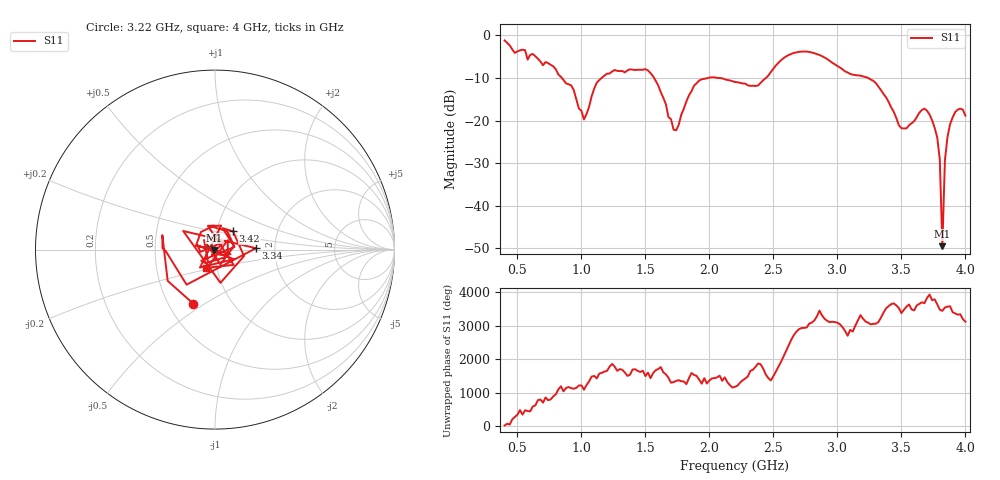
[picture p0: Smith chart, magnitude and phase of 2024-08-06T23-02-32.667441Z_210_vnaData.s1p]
!Created with skrf (http://scikit-rf.org).
# Hz S RI R 50.0
!freq ReS11 ImS11
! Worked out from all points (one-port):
!   181 points, 400 MHz to 4 GHz, reference 50 ohm
!   lowest |S11| = -49.5 dB at 3.82 GHz (marker M1), VSWR 1.01, Z = 49.7 - j0.144 ohm
!   |S11| at or under -10 dB: 1.568 GHz to 1.989 GHz (421.7 MHz wide, 23.7 % of centre); 2.062 GHz to 2.441 GHz (378.9 MHz wide, 16.8 % of centre); 3.24 GHz to end of sweep (the widest 3 of 4)
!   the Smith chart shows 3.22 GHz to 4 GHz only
!   S11 on the Smith chart (normalised r, x): 3.22 GHz: 0.66, -0.45; 3.34 GHz: 1.59, +0.03; 3.42 GHz: 1.19, +0.25; 4 GHz: 0.88, -0.18
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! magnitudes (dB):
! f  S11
! 400 MHz  -1.2
! 860 MHz  -10.5
! 940 MHz  -12.8
! 1.02 GHz  -19.7
! 1.12 GHz  -11.1
! 1.3 GHz  -8.4
! 1.52 GHz  -8.2
! 1.6 GHz  -11.8
! 1.72 GHz  -22.1
! 1.76 GHz  -21.0
! 1.92 GHz  -10.6
! 2.2 GHz  -11.0
! 2.38 GHz  -11.8
! 2.66 GHz  -4.1
! 3.1 GHz  -9.1
! 3.22 GHz  -9.8
! 3.34 GHz  -12.8
! 3.42 GHz  -16.9
! 3.5 GHz  -21.8
! 3.56 GHz  -21.1
! 3.68 GHz  -17.2
! 3.76 GHz  -21.7
! 3.8 GHz  -29.1
! 3.82 GHz  -49.5
! 3.84 GHz  -29.3
! 3.86 GHz  -23.9
! 3.92 GHz  -18.0
! 4 GHz  -18.8
